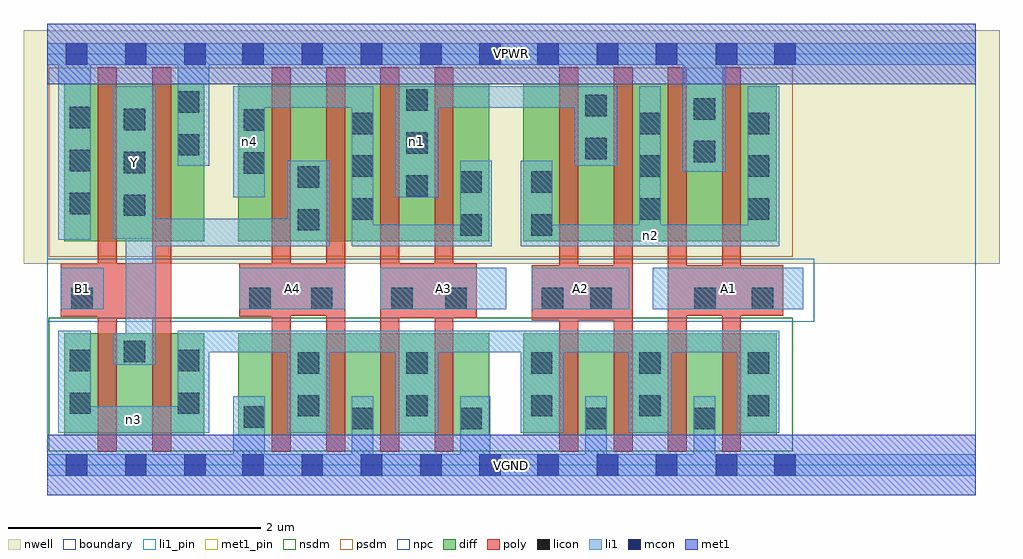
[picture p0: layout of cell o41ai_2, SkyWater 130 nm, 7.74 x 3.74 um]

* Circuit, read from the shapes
.subckt o41ai_2 A1 A2 A3 A4 B1 VGND VPWR Y n1 n2 n3 n4
XM1 Y B1 n3 VSUBS sky130_fd_pr__nfet_01v8 w=0.81 l=0.15 m=2
XM2 n3 A4 VGND VSUBS sky130_fd_pr__nfet_01v8 w=0.81 l=0.15 m=2
XM3 n3 A3 VGND VSUBS sky130_fd_pr__nfet_01v8 w=0.81 l=0.15 m=2
XM4 VGND A2 n3 VSUBS sky130_fd_pr__nfet_01v8 w=0.81 l=0.15 m=2
XM5 VGND A1 n3 VSUBS sky130_fd_pr__nfet_01v8 w=0.81 l=0.15 m=2
XM6 Y B1 VPWR n5 sky130_fd_pr__pfet_01v8 w=1.25 l=0.15 m=2
XM7 Y A4 n4 n5 sky130_fd_pr__pfet_01v8 w=1.25 l=0.15 m=2
XM8 n1 A3 n4 n5 sky130_fd_pr__pfet_01v8 w=1.25 l=0.15 m=2
XM9 n1 A2 n2 n5 sky130_fd_pr__pfet_01v8 w=1.25 l=0.15 m=2
XM10 VPWR A1 n2 n5 sky130_fd_pr__pfet_01v8 w=1.25 l=0.15 m=2
.ends

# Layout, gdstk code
import gdstk
lib = gdstk.Library(unit=1e-6, precision=1e-09)
def R(c, l, rs):  # rectangles x0, y0, x1, y1
    for r in rs: c.add(gdstk.rectangle(r[:2], r[2:], *l))
def A(c, l, x, y, w, h, nx, ny, dx, dy):  # array of equal rectangles
    R(c, l, [(x+i*dx, y+j*dy, x+i*dx+w, y+j*dy+h) for i in range(nx) for j in range(ny)])
nwell = (64, 20)
diff = (65, 20)
poly = (66, 20)
licon = (66, 44)
li1_pin = (67, 16)
li1 = (67, 20)
mcon = (67, 44)
met1_pin = (68, 16)
met1 = (68, 20)
nsdm = (93, 44)
psdm = (94, 20)
npc = (95, 20)
boundary = (235, 4)

o41ai_2 = lib.new_cell('o41ai_2')
R(o41ai_2, nwell, [(-0.19,1.595,7.55,3.45), (0,1.595,7.36,3.45)])
R(o41ai_2, diff, [(0.135,0.235,1.245,1.045), (1.515,0.235,3.505,1.045), (3.775,0.235,5.785,1.045), (0.135,1.775,1.245,3.025), (1.515,1.775,3.505,3.025), (3.775,1.775,5.785,3.025)])
A(o41ai_2, poly, 1.78, 0.105, 0.15, 3.05, 4, 1, 0.43, 0)
A(o41ai_2, poly, 4.06, 0.105, 0.15, 3.05, 4, 1, 0.43, 0)
R(o41ai_2, poly, [(0.4,0.105,0.55,3.155), (0.83,0.105,0.98,3.155), (3.84,1.15,4.64,1.585), (0.4,1.16,0.98,1.6), (2.64,1.17,3.405,1.6), (0.105,1.175,0.98,1.595), (1.52,1.175,1.93,1.595), (1.52,1.185,2.36,1.595), (4.92,1.185,5.835,1.585)])
A(o41ai_2, licon, 3.835, 0.385, 0.17, 0.17, 3, 2, 0.86, 0.34)
A(o41ai_2, licon, 2.415, 1.945, 0.17, 0.17, 1, 3, 0, 0.34)
A(o41ai_2, licon, 4.695, 1.945, 0.17, 0.17, 1, 3, 0, 0.34)
A(o41ai_2, licon, 5.555, 1.945, 0.17, 0.17, 1, 3, 0, 0.34)
A(o41ai_2, licon, 0.605, 1.975, 0.17, 0.17, 1, 3, 0, 0.34)
A(o41ai_2, licon, 0.175, 1.99, 0.17, 0.17, 1, 3, 0, 0.34)
A(o41ai_2, licon, 2.845, 2.13, 0.17, 0.17, 1, 3, 0, 0.34)
R(o41ai_2, licon, [(2.415,0.285,2.585,0.455), (3.275,0.285,3.445,0.455), (4.265,0.285,4.435,0.455), (5.125,0.285,5.295,0.455), (1.555,0.295,1.725,0.465), (1.985,0.385,2.155,0.555), (2.845,0.385,3.015,0.555), (0.175,0.405,0.345,0.575), (1.035,0.405,1.205,0.575), (1.985,0.725,2.155,0.895), (2.845,0.725,3.015,0.895), (0.175,0.745,0.345,0.915), (1.035,0.745,1.205,0.915), (0.605,0.815,0.775,0.985), (0.19,1.235,0.36,1.405), (1.6,1.235,1.77,1.405), (2.09,1.235,2.26,1.405), (2.725,1.235,2.895,1.405), (3.155,1.235,3.325,1.405), (3.92,1.235,4.09,1.405), (4.305,1.235,4.475,1.405), (5.13,1.235,5.3,1.405), (5.585,1.235,5.755,1.405), (3.275,1.82,3.445,1.99), (3.835,1.82,4.005,1.99), (1.985,1.86,2.155,2.03), (3.275,2.16,3.445,2.33), (3.835,2.16,4.005,2.33), (1.985,2.2,2.155,2.37), (1.555,2.31,1.725,2.48), (5.125,2.4,5.295,2.57), (4.265,2.425,4.435,2.595), (1.035,2.455,1.205,2.625), (1.555,2.65,1.725,2.82), (5.125,2.74,5.295,2.91), (4.265,2.765,4.435,2.935), (1.035,2.795,1.205,2.965)])
R(o41ai_2, li1_pin, [(0.105,1.235,0.445,1.565), (1.52,1.235,2.36,1.565), (2.64,1.235,3.64,1.565), (3.84,1.235,4.615,1.565), (4.8,1.235,5.995,1.565), (0.52,1.795,0.86,3.005)])
R(o41ai_2, li1, [(0,-0.085,7.36,0.085), (1.475,-0.085,1.725,0.545), (2.415,-0.085,2.585,0.545), (3.275,-0.085,3.51,0.545), (4.265,-0.085,4.435,0.545), (5.125,-0.085,5.295,0.545), (0.085,0.255,1.285,0.465), (0.085,0.255,0.345,1.065), (1.035,0.255,1.285,1.065), (1.9,0.255,2.24,1.065), (2.76,0.255,3.1,1.065), (3.755,0.255,4.09,1.065), (4.61,0.255,4.95,1.065), (5.47,0.255,5.805,1.065), (0.52,0.795,0.86,1.045), (0.62,0.795,0.86,3.005), (1.035,0.895,5.805,1.065), (0.105,1.235,0.445,1.565), (1.52,1.235,2.36,1.565), (2.64,1.235,3.64,1.565), (3.84,1.235,4.615,1.565), (4.8,1.235,5.995,1.565), (0.62,1.735,2.24,1.955), (1.9,1.735,2.24,2.415), (2.415,1.735,3.525,1.905), (2.415,1.735,2.585,3.005), (3.275,1.735,3.525,2.415), (3.755,1.735,4.005,2.415), (3.755,1.735,5.805,1.905), (4.695,1.735,4.865,3.005), (5.555,1.735,5.805,3.005), (0.085,1.785,0.345,3.345), (0.52,1.795,0.86,3.005), (1.475,2.125,1.725,3.005), (2.76,2.125,3.1,3.005), (5.04,2.325,5.38,3.345), (1.035,2.375,1.285,3.345), (4.18,2.375,4.52,3.005), (1.475,2.835,2.585,3.005), (2.76,2.835,4.52,3.005), (0,3.175,7.36,3.345)])
A(o41ai_2, mcon, 0.145, -0.085, 0.17, 0.17, 3, 2, 0.47, 3.26)
A(o41ai_2, mcon, 1.545, -0.085, 0.17, 0.17, 5, 2, 0.47, 3.26)
A(o41ai_2, mcon, 3.885, -0.085, 0.17, 0.17, 3, 2, 0.47, 3.26)
R(o41ai_2, mcon, [(5.3,-0.085,5.47,0.085), (5.765,-0.085,5.935,0.085), (5.3,3.175,5.47,3.345), (5.765,3.175,5.935,3.345)])
R(o41ai_2, met1_pin, [(0,-0.24,7.36,0.24), (0,3.02,7.36,3.5)])
R(o41ai_2, met1, [(0,-0.24,7.36,0.24), (0,3.02,7.36,3.5)])
R(o41ai_2, nsdm, [(0.01,0.11,5.91,1.17)])
R(o41ai_2, psdm, [(0.01,1.65,5.91,3.15)])
R(o41ai_2, npc, [(0,1.135,6.08,1.635)])
R(o41ai_2, boundary, [(0,0,7.36,3.26)])
o41ai_2.add(gdstk.Label('A1', (5.397,1.4), layer=67, texttype=5))
o41ai_2.add(gdstk.Label('A2', (4.227,1.4), layer=67, texttype=5))
o41ai_2.add(gdstk.Label('A3', (3.14,1.4), layer=67, texttype=5))
o41ai_2.add(gdstk.Label('A4', (1.94,1.4), layer=67, texttype=5))
o41ai_2.add(gdstk.Label('B1', (0.275,1.4), layer=67, texttype=5))
o41ai_2.add(gdstk.Label('Y', (0.69,2.4), layer=67, texttype=5))
o41ai_2.add(gdstk.Label('n3', (0.685,0.36), layer=67, texttype=5))
o41ai_2.add(gdstk.Label('n4', (1.6,2.565), layer=67, texttype=5))
o41ai_2.add(gdstk.Label('n1', (2.93,2.565), layer=67, texttype=5))
o41ai_2.add(gdstk.Label('n2', (4.78,1.82), layer=67, texttype=5))
o41ai_2.add(gdstk.Label('VPWR', (3.68,3.26), layer=68, texttype=5))
o41ai_2.add(gdstk.Label('VGND', (3.68,0), layer=68, texttype=5))
o41ai_2.add(gdstk.Label('A1', (5.397,1.4), layer=67, texttype=16))
o41ai_2.add(gdstk.Label('A2', (4.227,1.4), layer=67, texttype=16))
o41ai_2.add(gdstk.Label('A3', (3.14,1.4), layer=67, texttype=16))
o41ai_2.add(gdstk.Label('A4', (1.94,1.4), layer=67, texttype=16))
o41ai_2.add(gdstk.Label('B1', (0.275,1.4), layer=67, texttype=16))
o41ai_2.add(gdstk.Label('Y', (0.69,2.4), layer=67, texttype=16))
o41ai_2.add(gdstk.Label('VPWR', (3.68,3.26), layer=68, texttype=16))
o41ai_2.add(gdstk.Label('VGND', (3.68,0), layer=68, texttype=16))

lib.write_gds('o41ai_2.gds')
